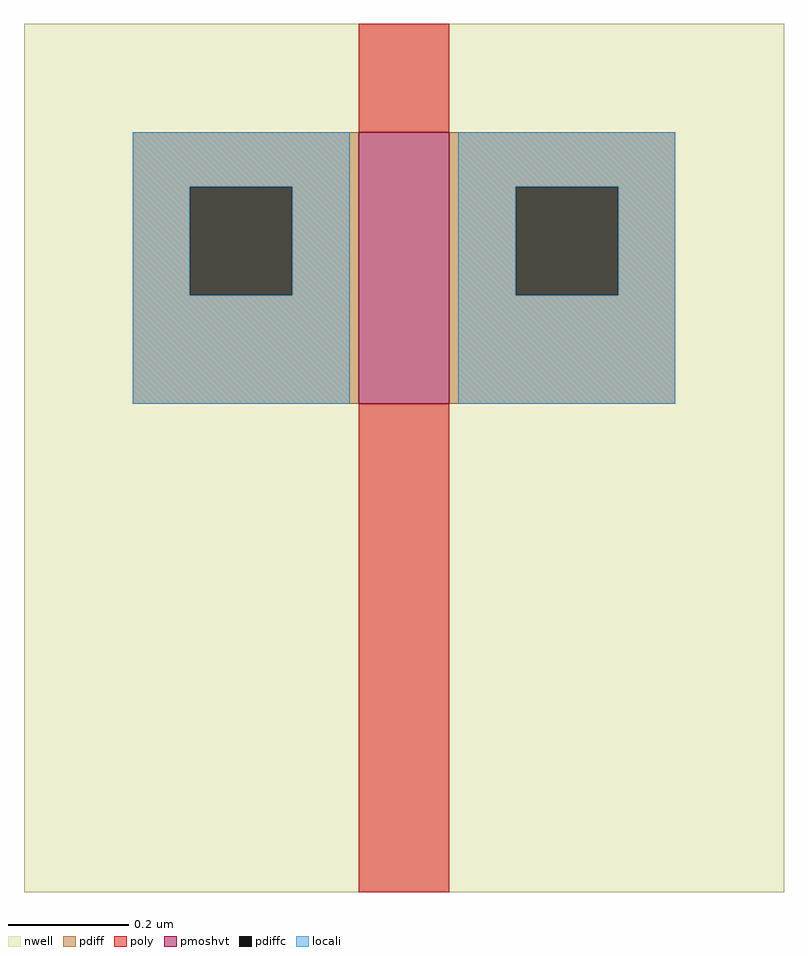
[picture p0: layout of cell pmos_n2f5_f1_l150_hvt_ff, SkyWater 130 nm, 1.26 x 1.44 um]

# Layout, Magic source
magic
tech sky130A
magscale 1 2
<< nwell >>
rect -72 -162 180 126
<< pmoshvt >>
rect 39 0 69 90
<< pdiff >>
rect -36 72 39 90
rect -36 36 -17 72
rect 17 36 39 72
rect -36 0 39 36
rect 69 72 144 90
rect 69 36 91 72
rect 125 36 144 72
rect 69 0 144 36
<< pdiffc >>
rect -17 36 17 72
rect 91 36 125 72
<< poly >>
rect 39 90 69 126
rect 39 -162 69 0
<< locali >>
rect -36 72 36 90
rect -36 36 -17 72
rect 17 36 36 72
rect -36 0 36 36
rect 72 72 144 90
rect 72 36 91 72
rect 125 36 144 72
rect 72 0 144 36
<< end >>
